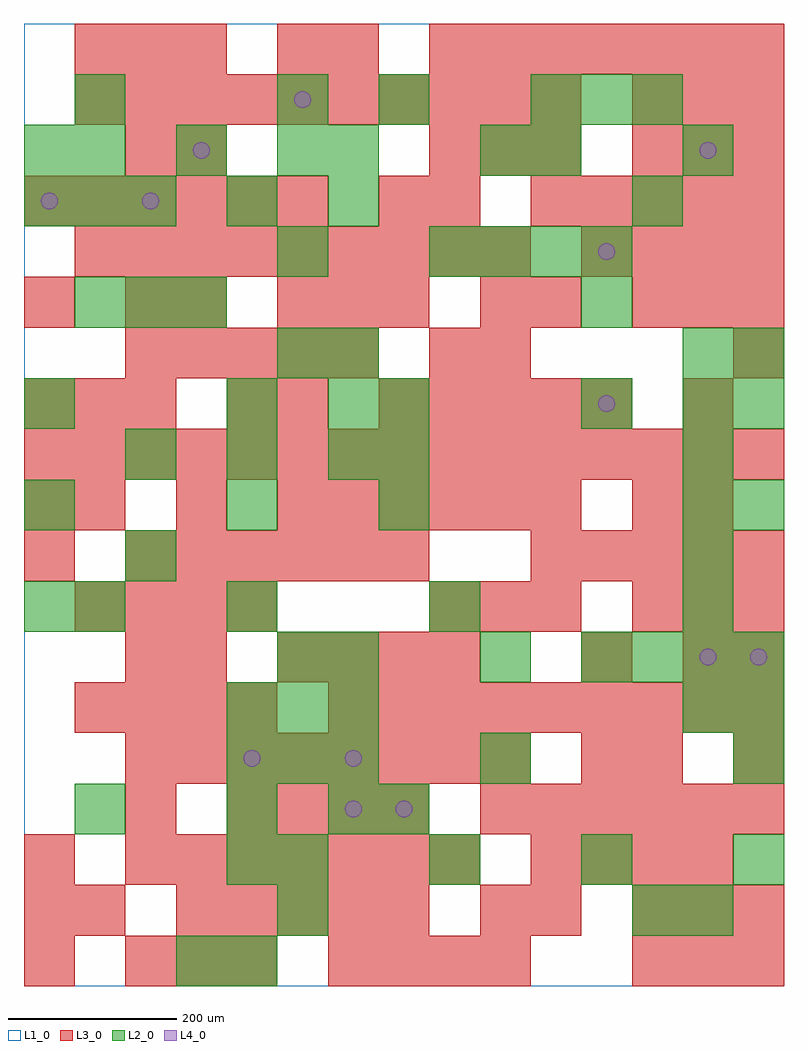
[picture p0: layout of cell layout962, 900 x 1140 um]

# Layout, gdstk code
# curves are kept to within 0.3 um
import gdstk
lib = gdstk.Library(unit=1e-6, precision=1e-09)
def R(c, l, rs):  # rectangles x0, y0, x1, y1
    for r in rs: c.add(gdstk.rectangle(r[:2], r[2:], *l))
def A(c, l, x, y, w, h, nx, ny, dx, dy):  # array of equal rectangles
    R(c, l, [(x+i*dx, y+j*dy, x+i*dx+w, y+j*dy+h) for i in range(nx) for j in range(ny)])
def P(c, l, *ps):  # polygons
    for p in ps: c.add(gdstk.Polygon(p, *l))
L1_0 = (1, 0)
L2_0 = (2, 0)
L3_0 = (3, 0)
L4_0 = (4, 0)

layout962 = lib.new_cell('layout962')
R(layout962, L1_0, [(0,0,900,1140)])
A(layout962, L2_0, 300, 120, 60, 60, 4, 1, 180, 0)
A(layout962, L2_0, 240, 240, 60, 60, 3, 2, 60, 60)
A(layout962, L2_0, 660, 360, 60, 60, 4, 1, 60, 0)
A(layout962, L2_0, 0, 420, 60, 60, 1, 3, 0, 120)
A(layout962, L2_0, 240, 420, 60, 60, 1, 3, 0, 120)
A(layout962, L2_0, 780, 420, 60, 60, 1, 6, 0, 60)
A(layout962, L2_0, 420, 540, 60, 60, 1, 3, 0, 60)
A(layout962, L2_0, 120, 600, 60, 60, 3, 1, 120, 0)
A(layout962, L2_0, 60, 780, 60, 60, 3, 1, 60, 0)
A(layout962, L2_0, 480, 840, 60, 60, 4, 1, 60, 0)
A(layout962, L2_0, 0, 900, 60, 60, 3, 1, 60, 0)
A(layout962, L2_0, 60, 960, 60, 60, 3, 1, 120, 0)
A(layout962, L2_0, 600, 1020, 60, 60, 3, 1, 60, 0)
R(layout962, L2_0, [(180,0,240,60), (240,0,300,60), (300,60,360,120), (720,60,780,120), (780,60,840,120), (240,120,300,180), (60,180,120,240), (240,180,300,240), (360,180,420,240), (420,180,480,240), (540,240,600,300), (840,240,900,300), (780,300,840,360), (840,300,900,360), (300,360,360,420), (360,360,420,420), (540,360,600,420), (60,420,120,480), (480,420,540,480), (120,480,180,540), (840,540,900,600), (360,660,420,720), (660,660,720,720), (840,660,900,720), (300,720,360,780), (360,720,420,780), (840,720,900,780), (660,780,720,840), (300,840,360,900), (240,900,300,960), (360,900,420,960), (720,900,780,960), (0,960,60,1020), (360,960,420,1020), (540,960,600,1020), (600,960,660,1020), (780,960,840,1020), (60,1020,120,1080), (300,1020,360,1080), (420,1020,480,1080)])
A(layout962, L3_0, 0, 0, 60, 60, 1, 3, 0, 60)
A(layout962, L3_0, 120, 0, 60, 60, 3, 1, 60, 0)
A(layout962, L3_0, 360, 0, 60, 60, 4, 1, 60, 0)
A(layout962, L3_0, 720, 0, 60, 60, 3, 2, 60, 60)
A(layout962, L3_0, 180, 60, 60, 60, 5, 1, 60, 0)
A(layout962, L3_0, 120, 120, 60, 60, 7, 1, 60, 0)
A(layout962, L3_0, 600, 120, 60, 60, 4, 1, 60, 0)
A(layout962, L3_0, 240, 180, 60, 60, 4, 1, 60, 0)
A(layout962, L3_0, 540, 180, 60, 60, 6, 1, 60, 0)
A(layout962, L3_0, 120, 240, 60, 60, 8, 1, 60, 0)
A(layout962, L3_0, 60, 300, 60, 60, 4, 2, 60, 120)
A(layout962, L3_0, 360, 300, 60, 60, 9, 1, 60, 0)
A(layout962, L3_0, 300, 360, 60, 60, 4, 1, 60, 0)
A(layout962, L3_0, 480, 420, 60, 60, 3, 2, 60, 540)
A(layout962, L3_0, 720, 420, 60, 60, 3, 2, 60, 360)
A(layout962, L3_0, 120, 480, 60, 60, 6, 1, 60, 0)
A(layout962, L3_0, 600, 480, 60, 60, 5, 2, 60, 420)
A(layout962, L3_0, 60, 540, 60, 60, 3, 1, 120, 0)
A(layout962, L3_0, 360, 540, 60, 60, 5, 1, 60, 0)
A(layout962, L3_0, 0, 600, 60, 60, 15, 1, 60, 0)
A(layout962, L3_0, 0, 660, 60, 60, 3, 1, 60, 0)
A(layout962, L3_0, 420, 660, 60, 60, 5, 1, 60, 0)
A(layout962, L3_0, 120, 720, 60, 60, 5, 1, 60, 0)
A(layout962, L3_0, 300, 780, 60, 60, 3, 1, 60, 0)
A(layout962, L3_0, 60, 840, 60, 60, 9, 1, 60, 0)
A(layout962, L3_0, 660, 840, 60, 60, 4, 1, 60, 0)
A(layout962, L3_0, 0, 900, 60, 60, 6, 1, 60, 0)
A(layout962, L3_0, 720, 960, 60, 60, 3, 2, 60, 60)
A(layout962, L3_0, 60, 1020, 60, 60, 10, 1, 60, 0)
A(layout962, L3_0, 60, 1080, 60, 60, 3, 1, 60, 0)
A(layout962, L3_0, 480, 1080, 60, 60, 7, 1, 60, 0)
R(layout962, L3_0, [(60,60,120,120), (540,60,600,120), (600,60,660,120), (120,180,180,240), (660,240,720,300), (720,240,780,300), (840,240,900,300), (120,360,180,420), (180,360,240,420), (660,360,720,420), (780,360,840,420), (840,360,900,420), (0,480,60,540), (0,540,60,600), (720,540,780,600), (780,540,840,600), (240,660,300,720), (300,660,360,720), (780,660,840,720), (480,720,540,780), (540,720,600,780), (840,720,900,780), (0,780,60,840), (120,780,180,840), (180,780,240,840), (540,780,600,840), (600,780,660,840), (420,900,480,960), (480,900,540,960), (120,960,180,1020), (180,960,240,1020), (300,1080,360,1140), (360,1080,420,1140)])
P(layout962, L4_0, [(40,930),(39.239,933.827),(37.071,937.071),(33.827,939.239),(30,940),(26.173,939.239),(22.929,937.071),(20.761,933.827),(20,930),(20.761,926.173),(22.929,922.929),(26.173,920.761),(30,920),(33.827,920.761),(37.071,922.929),(39.239,926.173)],
  [(160,930),(159.239,933.827),(157.071,937.071),(153.827,939.239),(150,940),(146.173,939.239),(142.929,937.071),(140.761,933.827),(140,930),(140.761,926.173),(142.929,922.929),(146.173,920.761),(150,920),(153.827,920.761),(157.071,922.929),(159.239,926.173)],
  [(220,990),(219.239,993.827),(217.071,997.071),(213.827,999.239),(210,1000),(206.173,999.239),(202.929,997.071),(200.761,993.827),(200,990),(200.761,986.173),(202.929,982.929),(206.173,980.761),(210,980),(213.827,980.761),(217.071,982.929),(219.239,986.173)],
  [(280,270),(279.239,273.827),(277.071,277.071),(273.827,279.239),(270,280),(266.173,279.239),(262.929,277.071),(260.761,273.827),(260,270),(260.761,266.173),(262.929,262.929),(266.173,260.761),(270,260),(273.827,260.761),(277.071,262.929),(279.239,266.173)],
  [(340,1050),(339.239,1053.827),(337.071,1057.071),(333.827,1059.239),(330,1060),(326.173,1059.239),(322.929,1057.071),(320.761,1053.827),(320,1050),(320.761,1046.173),(322.929,1042.929),(326.173,1040.761),(330,1040),(333.827,1040.761),(337.071,1042.929),(339.239,1046.173)],
  [(400,210),(399.239,213.827),(397.071,217.071),(393.827,219.239),(390,220),(386.173,219.239),(382.929,217.071),(380.761,213.827),(380,210),(380.761,206.173),(382.929,202.929),(386.173,200.761),(390,200),(393.827,200.761),(397.071,202.929),(399.239,206.173)],
  [(400,270),(399.239,273.827),(397.071,277.071),(393.827,279.239),(390,280),(386.173,279.239),(382.929,277.071),(380.761,273.827),(380,270),(380.761,266.173),(382.929,262.929),(386.173,260.761),(390,260),(393.827,260.761),(397.071,262.929),(399.239,266.173)],
  [(460,210),(459.239,213.827),(457.071,217.071),(453.827,219.239),(450,220),(446.173,219.239),(442.929,217.071),(440.761,213.827),(440,210),(440.761,206.173),(442.929,202.929),(446.173,200.761),(450,200),(453.827,200.761),(457.071,202.929),(459.239,206.173)],
  [(700,690),(699.239,693.827),(697.071,697.071),(693.827,699.239),(690,700),(686.173,699.239),(682.929,697.071),(680.761,693.827),(680,690),(680.761,686.173),(682.929,682.929),(686.173,680.761),(690,680),(693.827,680.761),(697.071,682.929),(699.239,686.173)],
  [(700,870),(699.239,873.827),(697.071,877.071),(693.827,879.239),(690,880),(686.173,879.239),(682.929,877.071),(680.761,873.827),(680,870),(680.761,866.173),(682.929,862.929),(686.173,860.761),(690,860),(693.827,860.761),(697.071,862.929),(699.239,866.173)],
  [(820,390),(819.239,393.827),(817.071,397.071),(813.827,399.239),(810,400),(806.173,399.239),(802.929,397.071),(800.761,393.827),(800,390),(800.761,386.173),(802.929,382.929),(806.173,380.761),(810,380),(813.827,380.761),(817.071,382.929),(819.239,386.173)],
  [(820,990),(819.239,993.827),(817.071,997.071),(813.827,999.239),(810,1000),(806.173,999.239),(802.929,997.071),(800.761,993.827),(800,990),(800.761,986.173),(802.929,982.929),(806.173,980.761),(810,980),(813.827,980.761),(817.071,982.929),(819.239,986.173)],
  [(880,390),(879.239,393.827),(877.071,397.071),(873.827,399.239),(870,400),(866.173,399.239),(862.929,397.071),(860.761,393.827),(860,390),(860.761,386.173),(862.929,382.929),(866.173,380.761),(870,380),(873.827,380.761),(877.071,382.929),(879.239,386.173)])

lib.write_gds('layout962.gds')
